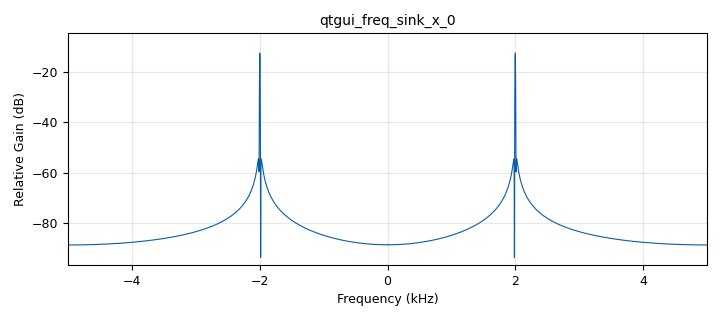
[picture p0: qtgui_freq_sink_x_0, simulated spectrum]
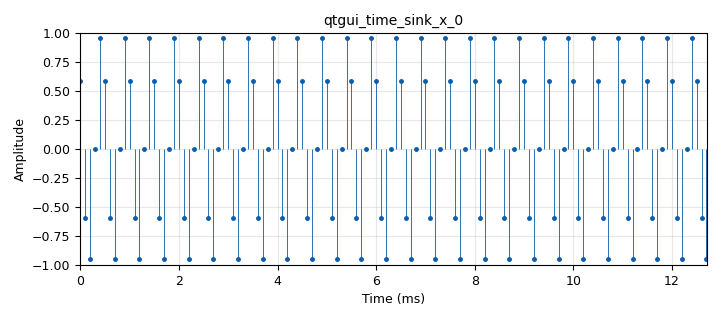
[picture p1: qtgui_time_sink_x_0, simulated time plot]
options:
  parameters:
    author: Jhonatan Franco_Jhonatan Valest_J1B_G4
    generate_options: qt_gui
    id: LAB1_PARTEB
    output_language: python
    title: MUESTREO
  states: {}

blocks:
- name: freq
  id: variable_qtgui_range
  parameters:
    label: frequency
    start: '1000'
    step: '1000'
    stop: '40000'
    value: '2000'
  states: {}
- name: freq_muestreo
  id: variable_qtgui_range
  parameters:
    label: Frecuencia de Muestreo
    start: '1000'
    step: '1000'
    stop: '70000'
    value: '10000'
  states: {}
- name: analog_sig_source_x_0
  id: analog_sig_source_x
  parameters:
    amp: '1'
    freq: freq
    offset: '0'
    phase: '0'
    samp_rate: freq_muestreo
    type: float
    waveform: analog.GR_SIN_WAVE
  states: {}
- name: blocks_throttle_0
  id: blocks_throttle
  parameters:
    samples_per_second: freq_muestreo
    type: float
  states: {}
- name: qtgui_freq_sink_x_0
  id: qtgui_freq_sink_x
  parameters:
    autoscale: 'True'
    bw: freq_muestreo
    fc: '0'
    fftsize: '2048'
    type: float
    wintype: window.WIN_HAMMING
  states: {}
- name: qtgui_time_sink_x_0
  id: qtgui_time_sink_x
  parameters:
    size: '128'
    srate: freq_muestreo
    stemplot: 'True'
    type: float
  states: {}

connections:
- [analog_sig_source_x_0, '0', blocks_throttle_0, '0']
- [blocks_throttle_0, '0', qtgui_freq_sink_x_0, '0']
- [blocks_throttle_0, '0', qtgui_time_sink_x_0, '0']

metadata:
  file_format: 1
  grc_version: 3.10.5.1
